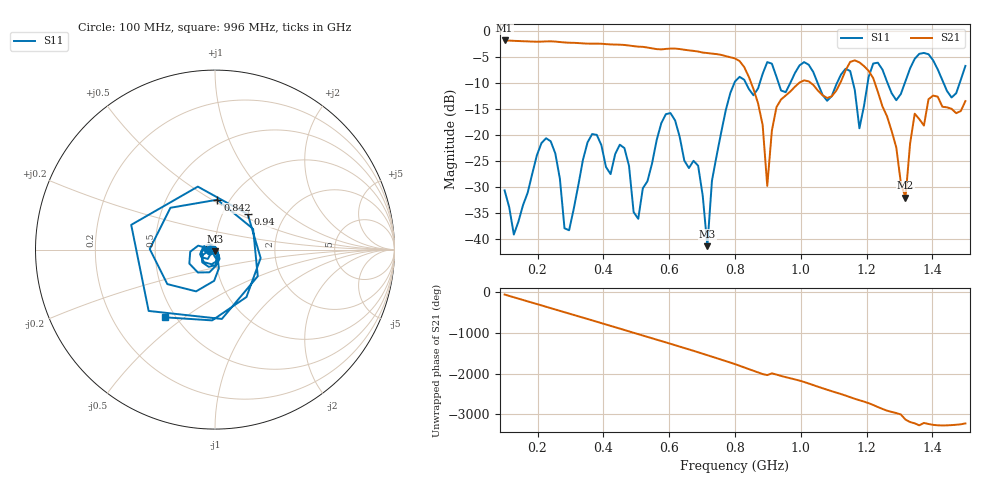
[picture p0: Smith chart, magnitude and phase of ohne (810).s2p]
! NanoVNA-App
! Date: 2025-09-25 14:27:06
! Start: 100MHz Stop: 1,5GHz Points: 101
! S-Parameter data: F S11 S21 S12 S22
# Hz S RI R 50
!  Frequency  S11_Real  S11_Imag  S21_Real  S21_Imag  S12_Real  S12_Imag  S22_Real  S22_Imag
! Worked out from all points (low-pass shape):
!   101 points, 100 MHz to 1.5 GHz, reference 50 ohm
!   highest |S21| = -1.79 dB at 100 MHz (marker M1); lowest = -32.0 dB at 1.318 GHz (marker M2)
!   |S21| within 3 dB of the highest: start of sweep to 771.2 MHz
!   lowest |S11| = -41.4 dB at 716 MHz (marker M3), VSWR 1.02, Z = 49.8 - j0.837 ohm
!   |S11| at or under -10 dB: start of sweep to 798 MHz; 833.1 MHz to 875.1 MHz (41.99 MHz wide, 4.92 % of centre); 1.051 GHz to 1.11 GHz (58.54 MHz wide, 5.42 % of centre) (the widest 3 of 7)
!   S12 and S22 are empty: the file has one direction only
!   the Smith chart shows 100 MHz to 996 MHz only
!   S11 on the Smith chart (normalised r, x): 100 MHz: 0.94, -0.01; 842 MHz: 0.88, +0.53; 940 MHz: 1.31, +0.56; 996 MHz: 0.44, -0.43
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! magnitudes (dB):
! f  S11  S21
! 100 MHz  -30.6  -1.8
! 128 MHz  -39.1  -1.9
! 226 MHz  -20.6  -2.0
! 296 MHz  -38.3  -2.2
! 338 MHz  -24.8  -2.4
! 464 MHz  -22.5  -2.7
! 506 MHz  -36.1  -3.0
! 576 MHz  -17.7  -3.5
! 688 MHz  -25.9  -3.9
! 716 MHz  -41.4  -4.2
! 800 MHz  -9.7  -5.3
! 842 MHz  -11.1  -8.8
! 898 MHz  -6.0  -29.8
! 940 MHz  -11.4  -13.1
! 996 MHz  -6.6  -9.9
! 1.038 GHz  -7.9  -10.4
! 1.178 GHz  -18.7  -6.0
! 1.22 GHz  -6.2  -9.1
! 1.276 GHz  -11.9  -19.2
! 1.318 GHz  -9.6  -32.0
! 1.346 GHz  -5.3  -15.9
! 1.5 GHz  -6.7  -13.5
